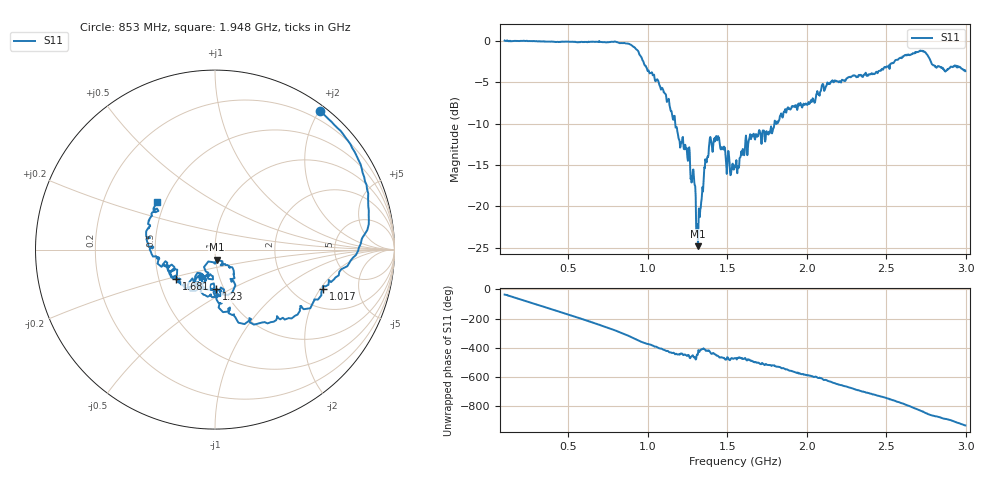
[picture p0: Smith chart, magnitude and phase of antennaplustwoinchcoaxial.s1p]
# HZ S RI R 50
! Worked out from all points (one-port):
!   1009 points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, 100 MHz to 2.997 GHz, reference 50 ohm
!   lowest |S11| = -24.8 dB at 1.316 GHz (marker M1), VSWR 1.12, Z = 50.6 - j5.77 ohm
!   |S11| at or under -10 dB: 1.173 GHz to 1.796 GHz (623.4 MHz wide, 42 % of centre); 1.80598 GHz to 1.810409 GHz (4.429 MHz wide, 0.245 % of centre)
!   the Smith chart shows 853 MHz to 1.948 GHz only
!   S11 on the Smith chart (normalised r, x): 853 MHz: 0.08, +2.02; 1.017 GHz: 2.86, -2.12; 1.23 GHz: 0.92, -0.43; 1.681 GHz: 0.61, -0.22; 1.948 GHz: 0.45, +0.29
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1e8  0.8226 -0.5729
2.781962e8  -0.0981 -0.9909
3.644202e8  -0.5734 -0.8046
4.621408e8  -0.9263 -0.3432
5.368682e8  -0.9809 0.1008
6.230922e8  -0.7851 0.5892
7.323093e8  -0.2051 0.9581
8.242815e8  0.4047 0.878
8.530228e8  0.5876 0.7712
9.277503e8  0.8541 0.2403
1.016848e9  0.6015 -0.2185
1.103072e9  0.2713 -0.4051
1.186422e9  0.0102 -0.2816
1.229534e9  0.00517 -0.2213
1.315758e9  0.00874 -0.0568
1.399108e9  0.0323 -0.2438
1.548563e9  -0.0721 -0.1618
1.680773e9  -0.2173 -0.1658
1.910704e9  -0.3667 0.1628
1.948068e9  -0.3229 0.2652
2.140634e9  0.0232 0.5524
2.272845e9  0.446 0.4116
2.48553e9  0.6323 -0.2683
2.634985e9  0.1524 -0.8079
2.709713e9  -0.3305 -0.7992
2.764321e9  -0.6114 -0.5232
2.91665e9  -0.6907 0.0555
2.997126e9  -0.5249 0.3922
